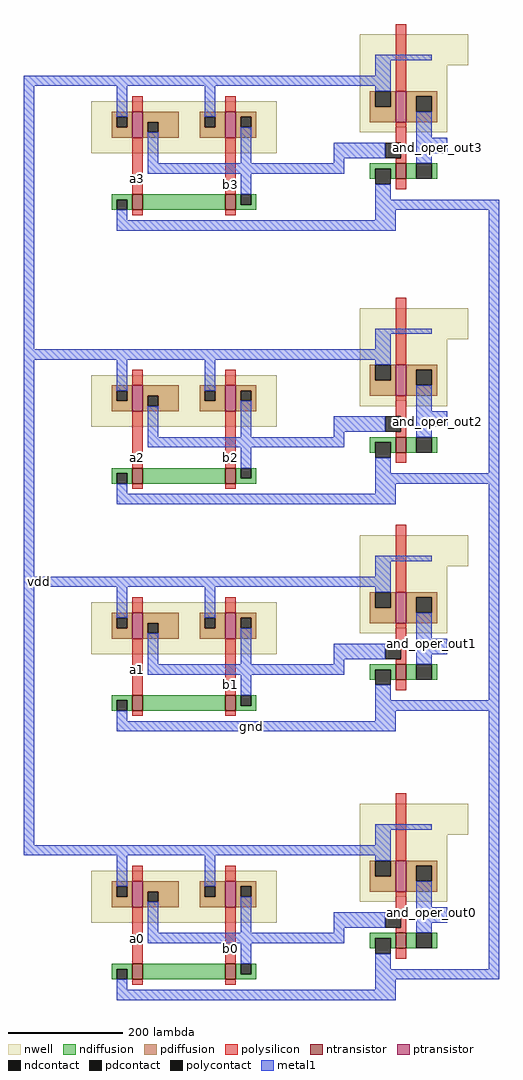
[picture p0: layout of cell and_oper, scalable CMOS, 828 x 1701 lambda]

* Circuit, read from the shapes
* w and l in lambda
.subckt and_oper a0 a1 a2 a3 and_oper_out0 and_oper_out1 and_oper_out2 and_oper_out3 b0 b1 b2 b3 gnd vdd
M1 n1 a0 gnd VSUBS nfet w=27 l=18
M2 n2 a1 gnd VSUBS nfet w=27 l=18
M3 n3 a2 gnd VSUBS nfet w=27 l=18
M4 n4 a3 gnd VSUBS nfet w=27 l=18
M5 n5 b0 n1 VSUBS nfet w=27 l=18
M6 n6 b1 n2 VSUBS nfet w=27 l=18
M7 n7 b2 n3 VSUBS nfet w=27 l=18
M8 n8 b3 n4 VSUBS nfet w=27 l=18
M9 and_oper_out0 n5 gnd VSUBS nfet w=27 l=18
M10 and_oper_out1 n6 gnd VSUBS nfet w=27 l=18
M11 and_oper_out2 n7 gnd VSUBS nfet w=27 l=18
M12 and_oper_out3 n8 gnd VSUBS nfet w=27 l=18
M13 n5 a0 vdd n9 pfet w=45 l=18
M14 n6 a1 vdd n10 pfet w=45 l=18
M15 n7 a2 vdd n11 pfet w=45 l=18
M16 n8 a3 vdd n12 pfet w=45 l=18
M17 n5 b0 vdd n9 pfet w=45 l=18
M18 n6 b1 vdd n10 pfet w=45 l=18
M19 n7 b2 vdd n11 pfet w=45 l=18
M20 n8 b3 vdd n12 pfet w=45 l=18
M21 and_oper_out0 n5 vdd n13 pfet w=54 l=18
M22 and_oper_out1 n6 vdd n14 pfet w=54 l=18
M23 and_oper_out2 n7 vdd n15 pfet w=54 l=18
M24 and_oper_out3 n8 vdd n16 pfet w=54 l=18
.ends

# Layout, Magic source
magic
tech scmos
<< nwell >>
rect 477 576 666 630
rect 9 423 333 513
rect 477 468 630 576
rect 477 459 540 468
rect 558 459 630 468
rect 477 99 666 153
rect 9 -54 333 36
rect 477 -9 630 99
rect 477 -18 540 -9
rect 558 -18 630 -9
rect 477 -297 666 -243
rect 9 -450 333 -360
rect 477 -405 630 -297
rect 477 -414 540 -405
rect 558 -414 630 -405
rect 477 -765 666 -711
rect 9 -918 333 -828
rect 477 -873 630 -765
rect 477 -882 540 -873
rect 558 -882 630 -873
<< ntransistor >>
rect 540 378 558 405
rect 81 324 99 351
rect 243 324 261 351
rect 540 -99 558 -72
rect 81 -153 99 -126
rect 243 -153 261 -126
rect 540 -495 558 -468
rect 81 -549 99 -522
rect 243 -549 261 -522
rect 540 -963 558 -936
rect 81 -1017 99 -990
rect 243 -1017 261 -990
<< ptransistor >>
rect 81 450 99 495
rect 243 450 261 495
rect 540 477 558 531
rect 81 -27 99 18
rect 243 -27 261 18
rect 540 0 558 54
rect 81 -423 99 -378
rect 243 -423 261 -378
rect 540 -396 558 -342
rect 81 -891 99 -846
rect 243 -891 261 -846
rect 540 -864 558 -810
<< ndiffusion >>
rect 495 396 540 405
rect 495 378 504 396
rect 531 378 540 396
rect 558 378 576 405
rect 603 378 612 405
rect 45 342 81 351
rect 45 324 54 342
rect 72 324 81 342
rect 99 324 243 351
rect 261 333 270 351
rect 288 333 297 351
rect 261 324 297 333
rect 495 -81 540 -72
rect 495 -99 504 -81
rect 531 -99 540 -81
rect 558 -99 576 -72
rect 603 -99 612 -72
rect 45 -135 81 -126
rect 45 -153 54 -135
rect 72 -153 81 -135
rect 99 -153 243 -126
rect 261 -144 270 -126
rect 288 -144 297 -126
rect 261 -153 297 -144
rect 495 -477 540 -468
rect 495 -495 504 -477
rect 531 -495 540 -477
rect 558 -495 576 -468
rect 603 -495 612 -468
rect 45 -531 81 -522
rect 45 -549 54 -531
rect 72 -549 81 -531
rect 99 -549 243 -522
rect 261 -540 270 -522
rect 288 -540 297 -522
rect 261 -549 297 -540
rect 495 -945 540 -936
rect 495 -963 504 -945
rect 531 -963 540 -945
rect 558 -963 576 -936
rect 603 -963 612 -936
rect 45 -999 81 -990
rect 45 -1017 54 -999
rect 72 -1017 81 -999
rect 99 -1017 243 -990
rect 261 -1008 270 -990
rect 288 -1008 297 -990
rect 261 -1017 297 -1008
<< pdiffusion >>
rect 495 504 504 531
rect 531 504 540 531
rect 45 486 81 495
rect 45 468 54 486
rect 72 468 81 486
rect 45 450 81 468
rect 99 477 162 495
rect 99 459 108 477
rect 126 459 162 477
rect 99 450 162 459
rect 198 486 243 495
rect 198 468 207 486
rect 225 468 243 486
rect 198 450 243 468
rect 261 486 297 495
rect 261 468 270 486
rect 288 468 297 486
rect 495 477 540 504
rect 558 522 612 531
rect 558 495 576 522
rect 603 495 612 522
rect 558 477 612 495
rect 261 450 297 468
rect 495 27 504 54
rect 531 27 540 54
rect 45 9 81 18
rect 45 -9 54 9
rect 72 -9 81 9
rect 45 -27 81 -9
rect 99 0 162 18
rect 99 -18 108 0
rect 126 -18 162 0
rect 99 -27 162 -18
rect 198 9 243 18
rect 198 -9 207 9
rect 225 -9 243 9
rect 198 -27 243 -9
rect 261 9 297 18
rect 261 -9 270 9
rect 288 -9 297 9
rect 495 0 540 27
rect 558 45 612 54
rect 558 18 576 45
rect 603 18 612 45
rect 558 0 612 18
rect 261 -27 297 -9
rect 495 -369 504 -342
rect 531 -369 540 -342
rect 45 -387 81 -378
rect 45 -405 54 -387
rect 72 -405 81 -387
rect 45 -423 81 -405
rect 99 -396 162 -378
rect 99 -414 108 -396
rect 126 -414 162 -396
rect 99 -423 162 -414
rect 198 -387 243 -378
rect 198 -405 207 -387
rect 225 -405 243 -387
rect 198 -423 243 -405
rect 261 -387 297 -378
rect 261 -405 270 -387
rect 288 -405 297 -387
rect 495 -396 540 -369
rect 558 -351 612 -342
rect 558 -378 576 -351
rect 603 -378 612 -351
rect 558 -396 612 -378
rect 261 -423 297 -405
rect 495 -837 504 -810
rect 531 -837 540 -810
rect 45 -855 81 -846
rect 45 -873 54 -855
rect 72 -873 81 -855
rect 45 -891 81 -873
rect 99 -864 162 -846
rect 99 -882 108 -864
rect 126 -882 162 -864
rect 99 -891 162 -882
rect 198 -855 243 -846
rect 198 -873 207 -855
rect 225 -873 243 -855
rect 198 -891 243 -873
rect 261 -855 297 -846
rect 261 -873 270 -855
rect 288 -873 297 -855
rect 495 -864 540 -837
rect 558 -819 612 -810
rect 558 -846 576 -819
rect 603 -846 612 -819
rect 558 -864 612 -846
rect 261 -891 297 -873
<< ndcontact >>
rect 504 369 531 396
rect 576 378 603 405
rect 54 324 72 342
rect 270 333 288 351
rect 504 -108 531 -81
rect 576 -99 603 -72
rect 54 -153 72 -135
rect 270 -144 288 -126
rect 504 -504 531 -477
rect 576 -495 603 -468
rect 54 -549 72 -531
rect 270 -540 288 -522
rect 504 -972 531 -945
rect 576 -963 603 -936
rect 54 -1017 72 -999
rect 270 -1008 288 -990
<< pdcontact >>
rect 504 504 531 531
rect 54 468 72 486
rect 108 459 126 477
rect 207 468 225 486
rect 270 468 288 486
rect 576 495 603 522
rect 504 27 531 54
rect 54 -9 72 9
rect 108 -18 126 0
rect 207 -9 225 9
rect 270 -9 288 9
rect 576 18 603 45
rect 504 -369 531 -342
rect 54 -405 72 -387
rect 108 -414 126 -396
rect 207 -405 225 -387
rect 270 -405 288 -387
rect 576 -378 603 -351
rect 504 -837 531 -810
rect 54 -873 72 -855
rect 108 -882 126 -864
rect 207 -873 225 -855
rect 270 -873 288 -855
rect 576 -846 603 -819
<< polysilicon >>
rect 540 531 558 648
rect 81 495 99 522
rect 243 495 261 522
rect 81 351 99 450
rect 243 351 261 450
rect 540 441 558 477
rect 549 414 558 441
rect 540 405 558 414
rect 540 360 558 378
rect 81 315 99 324
rect 243 315 261 324
rect 540 54 558 171
rect 81 18 99 45
rect 243 18 261 45
rect 81 -126 99 -27
rect 243 -126 261 -27
rect 540 -36 558 0
rect 549 -63 558 -36
rect 540 -72 558 -63
rect 540 -117 558 -99
rect 81 -162 99 -153
rect 243 -162 261 -153
rect 540 -342 558 -225
rect 81 -378 99 -351
rect 243 -378 261 -351
rect 81 -522 99 -423
rect 243 -522 261 -423
rect 540 -432 558 -396
rect 549 -459 558 -432
rect 540 -468 558 -459
rect 540 -513 558 -495
rect 81 -558 99 -549
rect 243 -558 261 -549
rect 540 -810 558 -693
rect 81 -846 99 -819
rect 243 -846 261 -819
rect 81 -990 99 -891
rect 243 -990 261 -891
rect 540 -900 558 -864
rect 549 -927 558 -900
rect 540 -936 558 -927
rect 540 -981 558 -963
rect 81 -1026 99 -1017
rect 243 -1026 261 -1017
<< polycontact >>
rect 522 414 549 441
rect 522 -63 549 -36
rect 522 -459 549 -432
rect 522 -927 549 -900
<< metal1 >>
rect 504 585 603 594
rect 504 558 531 585
rect -108 540 531 558
rect -108 81 -90 540
rect 54 486 72 540
rect 207 486 225 540
rect 504 531 531 540
rect 108 405 126 459
rect 270 405 288 468
rect 576 450 603 495
rect 432 414 522 441
rect 576 423 630 450
rect 432 405 450 414
rect 108 387 450 405
rect 576 405 603 423
rect 270 351 288 387
rect 504 342 531 369
rect 54 306 72 324
rect 504 324 720 342
rect 504 306 540 324
rect 54 288 540 306
rect 504 108 603 117
rect 504 81 531 108
rect -108 63 531 81
rect -108 -315 -90 63
rect 54 9 72 63
rect 207 9 225 63
rect 504 54 531 63
rect 108 -72 126 -18
rect 270 -72 288 -9
rect 576 -27 603 18
rect 432 -63 522 -36
rect 576 -54 630 -27
rect 432 -72 450 -63
rect 108 -90 450 -72
rect 576 -72 603 -54
rect 270 -126 288 -90
rect 504 -135 531 -108
rect 702 -135 720 324
rect 54 -171 72 -153
rect 504 -153 720 -135
rect 504 -171 540 -153
rect 54 -189 540 -171
rect 504 -288 603 -279
rect 504 -315 531 -288
rect -108 -333 531 -315
rect -108 -783 -90 -333
rect 54 -387 72 -333
rect 207 -387 225 -333
rect 504 -342 531 -333
rect 108 -468 126 -414
rect 270 -468 288 -405
rect 576 -423 603 -378
rect 432 -459 522 -432
rect 576 -450 630 -423
rect 432 -468 450 -459
rect 108 -486 450 -468
rect 576 -468 603 -450
rect 270 -522 288 -486
rect 504 -531 531 -504
rect 702 -531 720 -153
rect 54 -567 72 -549
rect 504 -549 720 -531
rect 504 -567 540 -549
rect 54 -585 540 -567
rect 504 -756 603 -747
rect 504 -783 531 -756
rect -108 -801 531 -783
rect 54 -855 72 -801
rect 207 -855 225 -801
rect 504 -810 531 -801
rect 108 -936 126 -882
rect 270 -936 288 -873
rect 576 -891 603 -846
rect 432 -927 522 -900
rect 576 -918 630 -891
rect 432 -936 450 -927
rect 108 -954 450 -936
rect 576 -936 603 -918
rect 270 -990 288 -954
rect 504 -999 531 -972
rect 702 -999 720 -549
rect 54 -1035 72 -1017
rect 504 -1017 720 -999
rect 504 -1035 540 -1017
rect 54 -1053 540 -1035
<< labels >>
rlabel polysilicon 90 -945 90 -945 1 a0
rlabel polysilicon 252 -963 252 -963 1 b0
rlabel metal1 603 -900 603 -900 1 and_oper_out0
rlabel polysilicon 90 -477 90 -477 1 a1
rlabel polysilicon 252 -504 252 -504 1 b1
rlabel metal1 603 -432 603 -432 1 and_oper_out1
rlabel polysilicon 90 -108 90 -108 1 a2
rlabel polysilicon 252 -108 252 -108 1 b2
rlabel metal1 612 -45 612 -45 1 and_oper_out2
rlabel polysilicon 90 378 90 378 1 a3
rlabel polysilicon 252 369 252 369 1 b3
rlabel metal1 612 432 612 432 1 and_oper_out3
rlabel metal1 288 -576 288 -576 1 gnd
rlabel metal1 -81 -324 -81 -324 3 vdd
<< end >>
